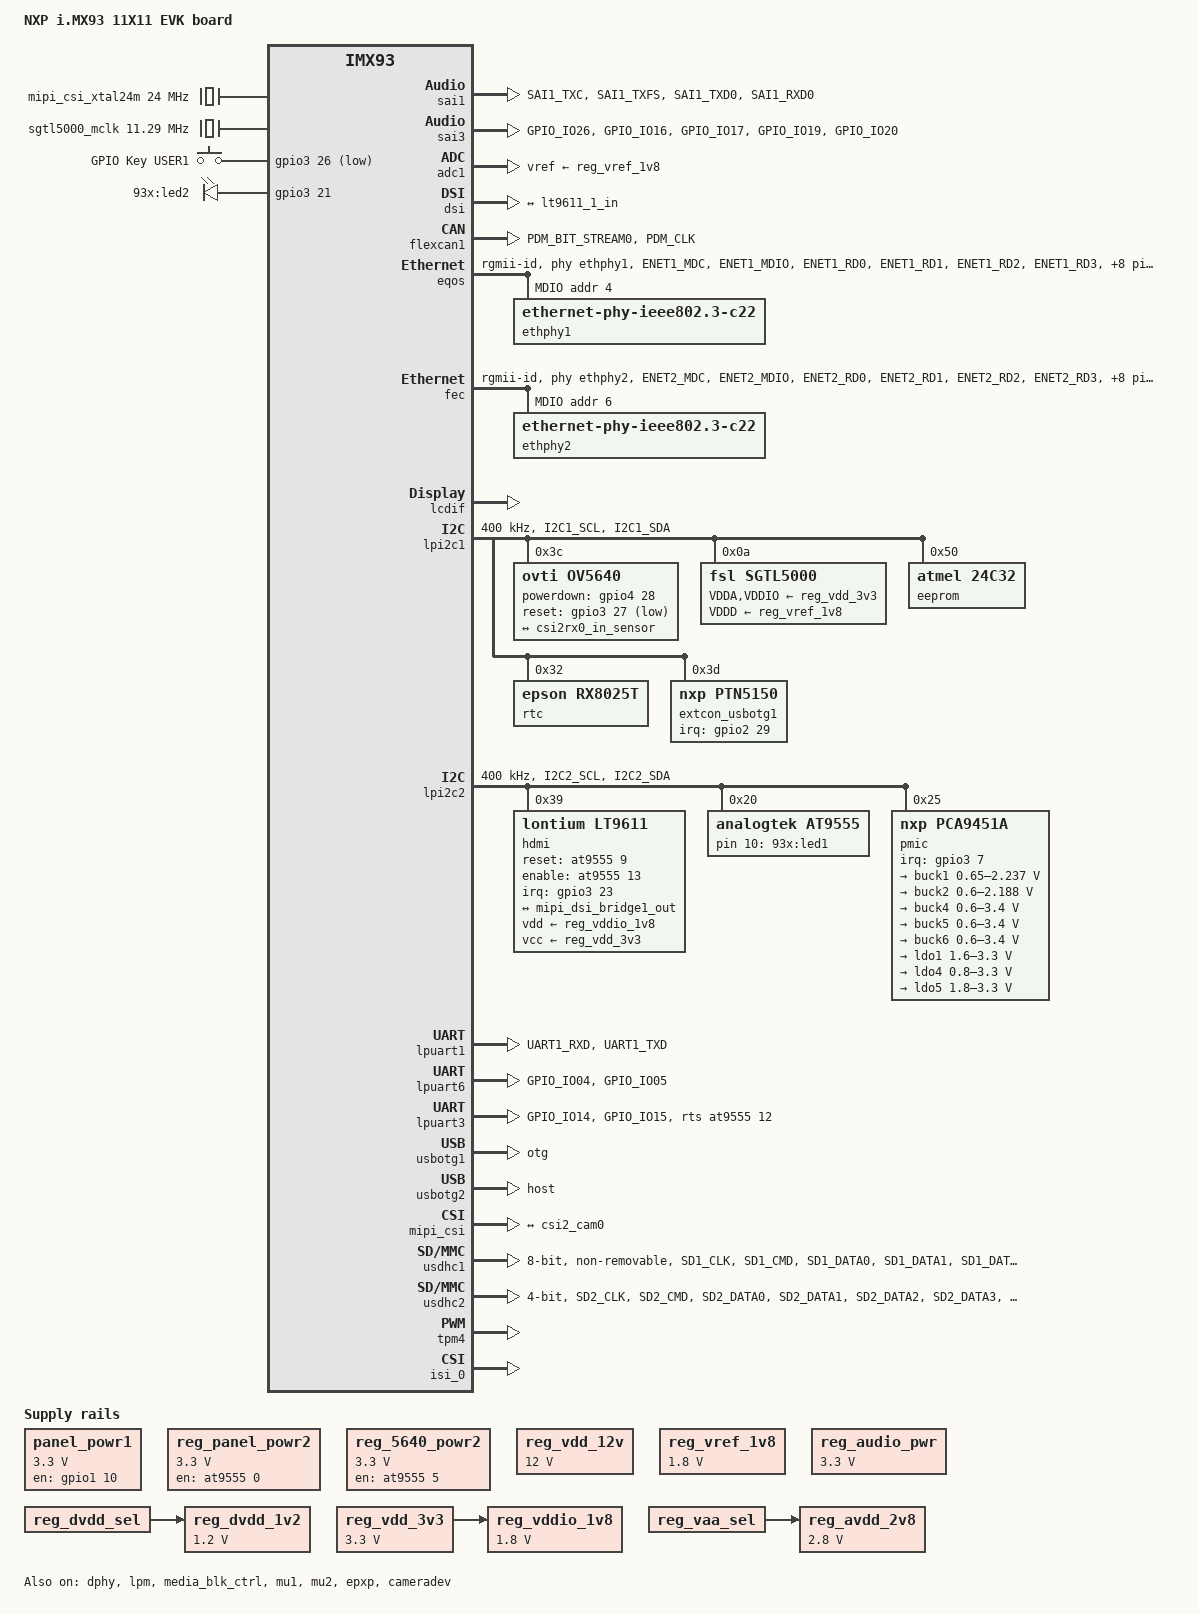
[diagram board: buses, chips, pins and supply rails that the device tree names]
// SPDX-License-Identifier: (GPL-2.0+ OR MIT)
/*
 * Copyright 2022 NXP
 */

/dts-v1/;

#include <dt-bindings/usb/pd.h>
#include "imx93.dtsi"

&ele_mu {
	memory-region = <&ele_reserved>;
};

/ {
	model = "NXP i.MX93 11X11 EVK board";
	compatible = "fsl,imx93-11x11-evk", "fsl,imx93";

	chosen {
		stdout-path = &lpuart1;
	};

	reserved-memory {
		#address-cells = <2>;
		#size-cells = <2>;
		ranges;

		linux,cma {
			compatible = "shared-dma-pool";
			reusable;
			alloc-ranges = <0 0x80000000 0 0x40000000>;
			size = <0 0x10000000>;
			linux,cma-default;
		};

		 ethosu_mem: ethosu_region@B0000000 {
		 	compatible = "shared-dma-pool";
		 	reusable;
		 	reg = <0x0 0xB0000000 0x0 0x8000000>;
		 };

		vdev0vring0: vdev0vring0@a4000000 {
			reg = <0 0xa4000000 0 0x8000>;
			no-map;
		};

		vdev0vring1: vdev0vring1@a4008000 {
			reg = <0 0xa4008000 0 0x8000>;
			no-map;
		};

		vdev1vring0: vdev1vring0@a4000000 {
			reg = <0 0xa4010000 0 0x8000>;
			no-map;
		};

		vdev1vring1: vdev1vring1@a4018000 {
			reg = <0 0xa4018000 0 0x8000>;
			no-map;
		};

		rsc_table: rsc-table@2021e000 {
			reg = <0 0x2021e000 0 0x1000>;
			no-map;
		};

		vdevbuffer: vdevbuffer@a4020000 {
			compatible = "shared-dma-pool";
			reg = <0 0xa4020000 0 0x100000>;
			no-map;
		};

		ele_reserved: ele-reserved@a4120000 {
			compatible = "shared-dma-pool";
			reg = <0 0xa4120000 0 0x100000>;
			no-map;
		};
	};

	cm33: imx93-cm33 {
		compatible = "fsl,imx93-cm33";
		mbox-names = "tx", "rx", "rxdb";
		mboxes = <&mu1 0 1
			  &mu1 1 1
			  &mu1 3 1>;
		memory-region = <&vdevbuffer>, <&vdev0vring0>, <&vdev0vring1>,
				<&vdev1vring0>, <&vdev1vring1>, <&rsc_table>;
		fsl,startup-delay-ms = <500>;
	};

	// ethosu {
	// 	compatible = "arm,ethosu";
	// 	fsl,cm33-proc = <&cm33>;
	// 	memory-region = <&ethosu_mem>;
	// 	power-domains = <&mlmix>;
	// };

	panel_powr1: regulator-panel_powr1 {
		compatible = "regulator-fixed";
		regulator-name = "panel-power1";
		regulator-min-microvolt = <3300000>;
		regulator-max-microvolt = <3300000>;
		gpios = <&gpio1 10 GPIO_ACTIVE_LOW>;
		enable-active-high;
		regulator-boot-on;
		regulator-always-on;
	};

	reg_panel_powr2: regulator-panel {
		compatible = "regulator-fixed";
		regulator-name = "panel-power1";
		regulator-min-microvolt = <3300000>;
		regulator-max-microvolt = <3300000>;
		gpios = <&at9555 0 GPIO_ACTIVE_LOW>;
		enable-active-high;
		regulator-boot-on;
		regulator-always-on;
	};


	reg_5640_powr2: regulator-5640 {
		compatible = "regulator-fixed";
		regulator-name = "5640-power1";
		regulator-min-microvolt = <3300000>;
		regulator-max-microvolt = <3300000>;
		gpios = <&at9555 5 GPIO_ACTIVE_HIGH>;
		enable-active-high;
		regulator-boot-on;
		regulator-always-on;
	};
	// reg_usdhc2_vmmc: regulator-usdhc2 {
	// 	compatible = "regulator-fixed";
	// 	pinctrl-names = "default";
	// 	pinctrl-0 = <&pinctrl_reg_usdhc2_vmmc>;
	// 	regulator-name = "VSD_3V3";
	// 	regulator-min-microvolt = <3300000>;
	// 	regulator-max-microvolt = <3300000>;
	// 	gpio = <&gpio3 7 GPIO_ACTIVE_HIGH>;
	// 	off-on-delay-us = <12000>;
	// 	enable-active-high;
	// };

	reg_vdd_12v: regulator-vdd-12v {
		compatible = "regulator-fixed";
		regulator-name = "reg_vdd_12v";
		regulator-min-microvolt = <12000000>;
		regulator-max-microvolt = <12000000>;
		enable-active-high;
	};

	reg_vref_1v8: regulator-adc-vref {
		compatible = "regulator-fixed";
		regulator-name = "vref_1v8";
		regulator-min-microvolt = <1800000>;
		regulator-max-microvolt = <1800000>;
	};

	usdhc3_pwrseq: usdhc3_pwrseq {
		compatible = "mmc-pwrseq-simple";
	};

	reg_audio_pwr: regulator-audio-pwr {
		compatible = "regulator-fixed";
		regulator-name = "audio-pwr";
		regulator-min-microvolt = <3300000>;
		regulator-max-microvolt = <3300000>;
		enable-active-high;
		regulator-always-on;
	};

	reg_dvdd_sel: regulator-dvdd_sel {
		compatible = "regulator-fixed";
		regulator-name = "DVDD_SEL";
		enable-active-high;
		startup-delay-us = <2000>;
	};

	reg_dvdd_1v2: regulator-dvdd {
		compatible = "regulator-fixed";
		regulator-name = "DVDD_1V2";
		regulator-min-microvolt = <1200000>;
		regulator-max-microvolt = <1200000>;
		enable-active-high;
		vin-supply = <&reg_dvdd_sel>;
	};

	reg_vdd_3v3: regulator-vdd {
		compatible = "regulator-fixed";
		regulator-name = "VDD_3V3";
		regulator-min-microvolt = <3300000>;
		regulator-max-microvolt = <3300000>;
		startup-delay-us = <4000>;
		enable-active-high;
	};

	reg_vddio_1v8: regulator-vddo {
		compatible = "regulator-fixed";
		regulator-name = "VDDIO_1V8";
		regulator-min-microvolt = <1800000>;
		regulator-max-microvolt = <1800000>;
		startup-delay-us = <4000>;
		enable-active-high;
		vin-supply = <&reg_vdd_3v3>;
	};

	reg_vaa_sel: regulator-vaa_sel {
		compatible = "regulator-fixed";
		regulator-name = "VAA_SEL";
		enable-active-high;
	};

	reg_avdd_2v8: regulator-avdd {
		compatible = "regulator-fixed";
		regulator-name = "AVDD_2V8";
		regulator-min-microvolt = <2800000>;
		regulator-max-microvolt = <2800000>;
		enable-active-high;
		vin-supply = <&reg_vaa_sel>;
	};

	mipi_csi_xtal24m: mipi_csi_xtal24m {
		compatible = "fixed-clock";
		#clock-cells = <0>;
		clock-frequency = <24000000>;
		clock-output-names = "xtal_24MHz";
	};

	sgtl5000_mclk: sgtl5000-mclk {
		compatible = "fixed-clock";
		#clock-cells = <0>;
		clock-frequency = <11289600>;
	};

	gpio-keys {
		compatible = "gpio-keys";
		autorepeat;
		pinctrl-names = "default";
		pinctrl-0 = <&pinctrl_key>;

		user: user {
			label = "GPIO Key USER1";
			linux,code = <BTN_0>;
			gpios = <&gpio3 26 GPIO_ACTIVE_LOW>;
		};

	};
	leds {
		compatible = "gpio-leds";

		led-user {
			label = "93x:led1";
			gpios = <&at9555 10 GPIO_ACTIVE_HIGH>;
			max-brightness = <255>;
			linux,default-trigger = "heartbeat";
		};

		led-sys {
			label = "93x:led2";
			pinctrl-names = "default";
			pinctrl-1 = <&pinctrl_sysled>;
			gpios = <&gpio3 21 GPIO_ACTIVE_HIGH>;
			linux,default-trigger = "heartbeat";
		};
	};

	sound {
		compatible = "simple-audio-card";
		simple-audio-card,name = "SGTL5000-Card";
		simple-audio-card,format = "i2s";
		simple-audio-card,bitclock-master = <&codec_dai>;
		simple-audio-card,frame-master = <&codec_dai>;
		simple-audio-card,widgets = "Headphone", "Headphone Jack";
		simple-audio-card,routing = "Headphone Jack", "HP_OUT";

		cpu_dai: simple-audio-card,cpu {
			sound-dai = <&sai1>;
		};

		codec_dai: simple-audio-card,codec {
			sound-dai = <&sgtl5000>;
			clocks = <&sgtl5000_mclk>;
		};
	};
};

&sai1 {
	#sound-dai-cells = <0>;
	pinctrl-names = "default";
	pinctrl-0 = <&pinctrl_sai1>;
	assigned-clocks = <&clk IMX93_CLK_SAI1>;
	assigned-clock-parents = <&clk IMX93_CLK_AUDIO_PLL>;
	assigned-clock-rates = <12288000>;
	status = "okay";
};

&sai3 {
	pinctrl-names = "default";
	pinctrl-0 = <&pinctrl_sai3>;
	assigned-clocks = <&clk IMX93_CLK_SAI3>;
	assigned-clock-parents = <&clk IMX93_CLK_AUDIO_PLL>;
	assigned-clock-rates = <12288000>;
	fsl,sai-mclk-direction-output;
	status = "okay";
};


// &xcvr {
// 	#sound-dai-cells = <0>;
// 	pinctrl-names = "default";
// 	pinctrl-0 = <&pinctrl_spdif>;
// 	clocks = <&clk IMX93_CLK_BUS_WAKEUP>,
// 		<&clk IMX93_CLK_SPDIF_GATE>,
// 		<&clk IMX93_CLK_DUMMY>,
// 		<&clk IMX93_CLK_AUD_XCVR_GATE>,
// 		<&clk IMX93_CLK_AUDIO_PLL>;
// 	clock-names = "ipg", "phy", "spba", "pll_ipg", "pll8k";
// 	assigned-clocks = <&clk IMX93_CLK_SPDIF>,
// 			 <&clk IMX93_CLK_AUDIO_XCVR>;
// 	assigned-clock-parents = <&clk IMX93_CLK_AUDIO_PLL>,
// 			 <&clk IMX93_CLK_SYS_PLL_PFD1_DIV2>;
// 	assigned-clock-rates = <12288000>, <200000000>;
// 	status = "okay";
// };
	
&adc1 {
	vref-supply = <&reg_vref_1v8>;
	status = "okay";
};

&dphy {
	status = "okay";
};

&dsi {
 	status = "okay";
 	ports{
 		#address-cells = <1>;
 		#size-cells = <0>;

 		hdmi:port@1 {
 			reg = <1>;
 			mipi_dsi_bridge1_out: endpoint {
 				remote-endpoint = <&lt9611_1_in>;
 				};
 			};
 		};
 		
};
&flexcan1 {
	pinctrl-names = "default";
	pinctrl-0 = <&pinctrl_flexcan1>;
	// xceiver-supply = <&reg_can2_stby>;
	status = "okay";
};

&eqos {
	pinctrl-names = "default";
	pinctrl-0 = <&pinctrl_eqos>;
	phy-mode = "rgmii-id";
	phy-handle = <&ethphy1>;
	status = "okay";

	mdio {
		compatible = "snps,dwmac-mdio";
		#address-cells = <1>;
		#size-cells = <0>;
		clock-frequency = <5000000>;

		ethphy1: ethernet-phy@1 {
			compatible = "ethernet-phy-ieee802.3-c22";
			reg = <4>;
			eee-broken-1000t;
		};
	};
};

&fec {
	pinctrl-names = "default";
	pinctrl-0 = <&pinctrl_fec>;
	phy-mode = "rgmii-id";
	phy-handle = <&ethphy2>;
	fsl,magic-packet;
	status = "okay";

	mdio {
		compatible = "snps,dwmac-mdio";
		#address-cells = <1>;
		#size-cells = <0>;
		clock-frequency = <5000000>;

		ethphy2: ethernet-phy@2 {
			compatible = "ethernet-phy-ieee802.3-c22";
			reg = <6>;
			eee-broken-1000t;
		};
	};
};

&lcdif {
	status = "okay";
	assigned-clock-rates = <445333333>, <148444444>, <400000000>, <133333333>;
};

&lpm {
	soc-supply = <&buck1>;
	status = "okay";
};

/*
 * When add, delete or change any target device setting in &lpi2c1,
 * please synchronize the changes to the &i3c1 bus in imx93-11x11-evk-i3c.dts.
 */
&lpi2c1 {
	#address-cells = <1>;
	#size-cells = <0>;
	clock-frequency = <400000>;
	pinctrl-names = "default", "sleep";
	pinctrl-0 = <&pinctrl_lpi2c1>;
	pinctrl-1 = <&pinctrl_lpi2c1>;
	status = "okay";

	ov5640: camera@3c {
		compatible = "ovti,ov5640";
		reg = <0x3c>;

		pinctrl-names ="default";
		pinctrl-0=<&pinctrl_ov5640_gpio>;

		clocks = <&mipi_csi_xtal24m>;
		// assigned-clocks = <&clk IMX93_CLK_CCM_CKO3>;
		// assigned-clock-rates = <24000000>;
		powerdown-gpios = <&gpio4 28 GPIO_ACTIVE_HIGH>;
		reset-gpios = <&gpio3 27 GPIO_ACTIVE_LOW>;
        clock-names = "xclk";

		csi_id = <0>;
		mclk = <24000000>;
		mclk_source = <0>;
		mipi_csi;
		status = "okay";

		port {
			csi2_cam0: endpoint {
				remote-endpoint = <&csi2rx0_in_sensor>;
				data-lanes = <1 2>;
				// cfg-clk-range = <28>;
				// hs-clk-range = <0x16>;
			};
		};
	};

	sgtl5000: audio-codec@a {
		compatible = "fsl,sgtl5000";
		reg = <0xa>;
		#sound-dai-cells = <0>;
		clocks = <&sgtl5000_mclk>;
		VDDA-supply = <&reg_vdd_3v3>;
		VDDIO-supply = <&reg_vdd_3v3>;
		VDDD-supply = <&reg_vref_1v8>;
	};
	
	eeprom: 24c32@50 {
		compatible = "atmel,24c32";
		reg = <0x50>;
		pagesize = <32>;
	};

	rtc: rtc@32 {
		compatible = "epson,rx8025t";
		reg = <0x32>;
		tatus = "okay";
    };
       extcon_usbotg1: typec@3d {
                compatible = "nxp,ptn5150";
                reg = <0x3d>;
                interrupt-parent = <&gpio2>;
                interrupts = <29 IRQ_TYPE_LEVEL_LOW>;
                pinctrl-names = "default";
                pinctrl-0 = <&pinctrl_tyint>;
                status = "okay";
        };

};
&lpi2c2 {
	#address-cells = <1>;
	#size-cells = <0>;
	clock-frequency = <400000>;
	pinctrl-names = "default", "sleep";
	pinctrl-0 = <&pinctrl_lpi2c2>;
	pinctrl-1 = <&pinctrl_lpi2c2>;
	status = "okay";
	 	hdmi@39 {
	 	compatible = "lontium,lt9611";
	 	pinctrl-0 = <&pinctrl_lt9611>;
	 	pinctrl-names = "default";
	 	vdd-supply = <&reg_vddio_1v8>;
	  	vcc-supply = <&reg_vdd_3v3>;
		
	 	// ddc-i2c-bus = <&lpi2c2>;
	 	// hpd-gpios = <&gpio1 8 GPIO_ACTIVE_HIGH>;
	 	// dsi-lanes = <4>;
	 	reg = <0x39>;
	 	reset-gpios = <&at9555 9 GPIO_ACTIVE_HIGH>;
	 	enable-gpios = <&at9555 13 GPIO_ACTIVE_HIGH>;
	 	interrupts-extended = <&gpio3 23 IRQ_TYPE_EDGE_FALLING>;
     	// lvds-enabled = <0>;
     	status = "okay";	    

		 ports {
		 	#address-cells = <1>;
		 	#size-cells = <0>;

		 	hdmi_disp: port@0 {
		 		reg = <0>;

		 		lt9611_1_in: endpoint {
		 			remote-endpoint = <&mipi_dsi_bridge1_out>;
		 		};
		 	};
/*
		 	port@2 {
		 		reg = <2>;
		 		lt9611_out: endpoint {
		 			remote-endpoint = <&hdmi_con>;
		 		};
		 	};
		 	*/
		 	
		 };
	};

	at9555: at9555@20 {
		compatible = "analogtek,at9555";
		reg = <0x20>;
		#gpio-cells = <2>;
		gpio_base = <130>;
		interrupt-controller;
		#interrupt-cells = <2>;
		status = "okay";
	};

	pmic@25 {
		compatible = "nxp,pca9451a";
		reg = <0x25>;
		pinctrl = <&pinctrl_reg_usdhc2_vmmc>;
		interrupt-parent = <&gpio3>;
		interrupts = <7 IRQ_TYPE_EDGE_FALLING>;

		regulators {
			buck1: BUCK1 {
				regulator-name = "BUCK1";
				regulator-min-microvolt = <650000>;
				regulator-max-microvolt = <2237500>;
				regulator-boot-on;
				regulator-always-on;
				regulator-ramp-delay = <3125>;
			};

			buck2: BUCK2 {
				regulator-name = "BUCK2";
				regulator-min-microvolt = <600000>;
				regulator-max-microvolt = <2187500>;
				regulator-boot-on;
				regulator-always-on;
				regulator-ramp-delay = <3125>;
			};

			buck4: BUCK4{
				regulator-name = "BUCK4";
				regulator-min-microvolt = <600000>;
				regulator-max-microvolt = <3400000>;
				regulator-boot-on;
				regulator-always-on;
			};

			buck5: BUCK5{
				regulator-name = "BUCK5";
				regulator-min-microvolt = <600000>;
				regulator-max-microvolt = <3400000>;
				regulator-boot-on;
				regulator-always-on;
			};

			buck6: BUCK6 {
				regulator-name = "BUCK6";
				regulator-min-microvolt = <600000>;
				regulator-max-microvolt = <3400000>;
				regulator-boot-on;
				regulator-always-on;
			};

			ldo1: LDO1 {
				regulator-name = "LDO1";
				regulator-min-microvolt = <1600000>;
				regulator-max-microvolt = <3300000>;
				regulator-boot-on;
				regulator-always-on;
			};

			ldo4: LDO4 {
				regulator-name = "LDO4";
				regulator-min-microvolt = <800000>;
				regulator-max-microvolt = <3300000>;
				regulator-boot-on;
				regulator-always-on;
			};

			ldo5: LDO5 {
				regulator-name = "LDO5";
				regulator-min-microvolt = <1800000>;
				regulator-max-microvolt = <3300000>;
				regulator-boot-on;
				regulator-always-on;
			};
		};
	};

};


&lpuart1 { /* console */
	pinctrl-names = "default";
	pinctrl-0 = <&pinctrl_uart1>;
	status = "okay";
};

&lpuart6 { /* console */
	pinctrl-names = "default";
	pinctrl-0 = <&pinctrl_uart6>;
	status = "okay";
};


&media_blk_ctrl {
	status = "okay";
};

&mu1 {
	status = "okay";
};

&mu2 {
	status = "okay";
};


&lpuart3 {
	pinctrl-names = "default";
	pinctrl-0 = <&pinctrl_uart3>;
    rts-gpios = <&at9555 12 GPIO_ACTIVE_HIGH>;
	rs485-rx-during-tx;
	linux,rs485-enabled-at-boot-time;
	status = "okay";

};

&usbotg1 {
	dr_mode = "otg";
	hnp-disable;
	srp-disable;
	adp-disable;
	usb-role-switch;
	disable-over-current;
	samsung,picophy-pre-emp-curr-control = <3>;
	samsung,picophy-dc-vol-level-adjust = <7>;
	status = "okay";

	extcon = <&extcon_usbotg1>, <&extcon_usbotg1>;

};

&usbotg2 {
	dr_mode = "host";
	disable-over-current; 
	status = "okay";
};


&mipi_csi {
	status = "okay";
	port@0 {
	csi2rx0_in_sensor: endpoint {
		remote-endpoint = <&csi2_cam0>;
		bus-type = <4>; /* CSI2 DPHY. */
				data-lanes = <2>;
				cfg-clk-range = <28>;
				hs-clk-range = <0x16>;
	};
	};
};

&usdhc1 {
	pinctrl-names = "default", "state_100mhz", "state_200mhz";
	pinctrl-0 = <&pinctrl_usdhc1>;
	pinctrl-1 = <&pinctrl_usdhc1_100mhz>;
	pinctrl-2 = <&pinctrl_usdhc1_200mhz>;
	bus-width = <8>;
	non-removable;
	status = "okay";
};

&usdhc2 {
	pinctrl-names = "default", "state_100mhz", "state_200mhz";
	pinctrl-0 = <&pinctrl_usdhc2>, <&pinctrl_usdhc2_gpio>;
	pinctrl-1 = <&pinctrl_usdhc2_100mhz>, <&pinctrl_usdhc2_gpio>;
	pinctrl-2 = <&pinctrl_usdhc2_200mhz>, <&pinctrl_usdhc2_gpio>;
	cd-gpios = <&gpio3 00 GPIO_ACTIVE_LOW>;
	// vmmc-supply = <&reg_usdhc2_vmmc>;
	bus-width = <4>;
	status = "okay";
	no-sdio;
	no-mmc;
};



&iomuxc {


	pinctrl_lcdif: lcdifgrp {
		fsl,pins = <
			MX93_PAD_GPIO_IO00__MEDIAMIX_DISP_CLK		0x31e
			MX93_PAD_GPIO_IO01__MEDIAMIX_DISP_DE		0x31e
			MX93_PAD_GPIO_IO02__MEDIAMIX_DISP_VSYNC		0x31e
			MX93_PAD_GPIO_IO03__MEDIAMIX_DISP_HSYNC		0x31e
			MX93_PAD_GPIO_IO04__MEDIAMIX_DISP_DATA00	0x31e
			MX93_PAD_GPIO_IO05__MEDIAMIX_DISP_DATA01	0x31e
			MX93_PAD_GPIO_IO06__MEDIAMIX_DISP_DATA02	0x31e
			MX93_PAD_GPIO_IO07__MEDIAMIX_DISP_DATA03	0x31e
			MX93_PAD_GPIO_IO08__MEDIAMIX_DISP_DATA04	0x31e
			MX93_PAD_GPIO_IO09__MEDIAMIX_DISP_DATA05	0x31e
			MX93_PAD_GPIO_IO10__MEDIAMIX_DISP_DATA06	0x31e
			MX93_PAD_GPIO_IO11__MEDIAMIX_DISP_DATA07	0x31e
			MX93_PAD_GPIO_IO12__MEDIAMIX_DISP_DATA08	0x31e
			MX93_PAD_GPIO_IO13__MEDIAMIX_DISP_DATA09	0x31e
			MX93_PAD_GPIO_IO14__MEDIAMIX_DISP_DATA10	0x31e
			MX93_PAD_GPIO_IO15__MEDIAMIX_DISP_DATA11	0x31e
			MX93_PAD_GPIO_IO16__MEDIAMIX_DISP_DATA12	0x31e
			MX93_PAD_GPIO_IO17__MEDIAMIX_DISP_DATA13	0x31e
			MX93_PAD_GPIO_IO18__MEDIAMIX_DISP_DATA14	0x31e
			MX93_PAD_GPIO_IO19__MEDIAMIX_DISP_DATA15	0x31e
			MX93_PAD_GPIO_IO20__MEDIAMIX_DISP_DATA16	0x31e
			MX93_PAD_GPIO_IO21__MEDIAMIX_DISP_DATA17	0x31e
			MX93_PAD_GPIO_IO22__MEDIAMIX_DISP_DATA18   0x0000051E
            MX93_PAD_GPIO_IO23__MEDIAMIX_DISP_DATA19   0x0000051E
            MX93_PAD_GPIO_IO24__MEDIAMIX_DISP_DATA20   0x0000051E
            MX93_PAD_GPIO_IO25__MEDIAMIX_DISP_DATA21   0x0000051E
            MX93_PAD_GPIO_IO26__MEDIAMIX_DISP_DATA22   0x0000051E
            MX93_PAD_GPIO_IO27__MEDIAMIX_DISP_DATA23   0x0000051E
		>;
	};

	pinctrl_lt9611: pinctrl9611 {
		fsl,pins = <
            MX93_PAD_SD3_DATA1__GPIO3_IO23             0x0000057E
			>;
        };

	pinctrl_sysled: pinctrlsysled {
		fsl,pins = <
                MX93_PAD_SD3_CMD__GPIO3_IO21               0x0000051E
			>;
    };

	pinctrl_key: pinctrlkey {
		fsl,pins = <
                MX93_PAD_CCM_CLKO1__GPIO3_IO26             0x0000051E
			>;
    };

	pinctrl_rgb: pinctrlrgb {
		fsl,pins = <
                MX93_PAD_PDM_BIT_STREAM1__GPIO1_IO10       0x0000051E
			>;
    };

	pinctrl_lcdif: lcdifgrp {
		fsl,pins = <
			MX93_PAD_GPIO_IO00__MEDIAMIX_DISP_CLK		0x31e
			MX93_PAD_GPIO_IO01__MEDIAMIX_DISP_DE		0x31e
			MX93_PAD_GPIO_IO02__MEDIAMIX_DISP_VSYNC		0x31e
			MX93_PAD_GPIO_IO03__MEDIAMIX_DISP_HSYNC		0x31e
			MX93_PAD_GPIO_IO04__MEDIAMIX_DISP_DATA00	0x31e
			MX93_PAD_GPIO_IO05__MEDIAMIX_DISP_DATA01	0x31e
			MX93_PAD_GPIO_IO06__MEDIAMIX_DISP_DATA02	0x31e
			MX93_PAD_GPIO_IO07__MEDIAMIX_DISP_DATA03	0x31e
			MX93_PAD_GPIO_IO08__MEDIAMIX_DISP_DATA04	0x31e
			MX93_PAD_GPIO_IO09__MEDIAMIX_DISP_DATA05	0x31e
			MX93_PAD_GPIO_IO10__MEDIAMIX_DISP_DATA06	0x31e
			MX93_PAD_GPIO_IO11__MEDIAMIX_DISP_DATA07	0x31e
			MX93_PAD_GPIO_IO12__MEDIAMIX_DISP_DATA08	0x31e
			MX93_PAD_GPIO_IO13__MEDIAMIX_DISP_DATA09	0x31e
			MX93_PAD_GPIO_IO14__MEDIAMIX_DISP_DATA10	0x31e
			MX93_PAD_GPIO_IO15__MEDIAMIX_DISP_DATA11	0x31e
			MX93_PAD_GPIO_IO16__MEDIAMIX_DISP_DATA12	0x31e
			MX93_PAD_GPIO_IO17__MEDIAMIX_DISP_DATA13	0x31e
			MX93_PAD_GPIO_IO18__MEDIAMIX_DISP_DATA14	0x31e
			MX93_PAD_GPIO_IO19__MEDIAMIX_DISP_DATA15	0x31e
			MX93_PAD_GPIO_IO20__MEDIAMIX_DISP_DATA16	0x31e
			MX93_PAD_GPIO_IO21__MEDIAMIX_DISP_DATA17	0x31e
			MX93_PAD_GPIO_IO22__MEDIAMIX_DISP_DATA18   0x0000051E
            MX93_PAD_GPIO_IO23__MEDIAMIX_DISP_DATA19   0x0000051E
            MX93_PAD_GPIO_IO24__MEDIAMIX_DISP_DATA20   0x0000051E
            MX93_PAD_GPIO_IO25__MEDIAMIX_DISP_DATA21   0x0000051E
            MX93_PAD_GPIO_IO26__MEDIAMIX_DISP_DATA22   0x0000051E
            MX93_PAD_GPIO_IO27__MEDIAMIX_DISP_DATA23   0x0000051E
		>;
	};
	
	pinctrl_sysled: pinctrlsysled {
		fsl,pins = <
                MX93_PAD_SD3_CMD__GPIO3_IO21               0x0000051E
			>;
    };
	
	pinctrl_uart3: pinctrluart3 {
		fsl,pins = <
			MX93_PAD_GPIO_IO14__LPUART3_TX             0x0000057E	
            MX93_PAD_GPIO_IO15__LPUART3_RX             0x0000057E
		>;
	};

	pinctrl_key: pinctrlkey {
		fsl,pins = <
                MX93_PAD_CCM_CLKO1__GPIO3_IO26             0x0000051E
			>;
    };

	pinctrl_flexcan1: flexcan1grp {
		fsl,pins = <
		MX93_PAD_PDM_BIT_STREAM0__CAN1_RX          0x0000057E
            	MX93_PAD_PDM_CLK__CAN1_TX  				   0x0000057E
		>;
	};

	pinctrl_lpi2c1: lpi2c1grp {
		fsl,pins = <
			MX93_PAD_I2C1_SCL__LPI2C1_SCL              0x0000057E
            MX93_PAD_I2C1_SDA__LPI2C1_SDA              0x0000057E
		>;
	};

	pinctrl_lpi2c2: lpi2c2grp {
		fsl,pins = <
			MX93_PAD_I2C2_SCL__LPI2C2_SCL			0x40000b9e
			MX93_PAD_I2C2_SDA__LPI2C2_SDA			0x40000b9e
		>;
	};

	pinctrl_lpi2c3: lpi2c3grp {
		fsl,pins = <
			MX93_PAD_GPIO_IO28__LPI2C3_SDA			0x40000b9e
			MX93_PAD_GPIO_IO29__LPI2C3_SCL			0x40000b9e
		>;
	};

	pinctrl_eqos: eqosgrp {
		fsl,pins = <
			MX93_PAD_ENET1_MDC__ENET_QOS_MDC			0x57e
			MX93_PAD_ENET1_MDIO__ENET_QOS_MDIO			0x57e
			MX93_PAD_ENET1_RD0__ENET_QOS_RGMII_RD0			0x57e
			MX93_PAD_ENET1_RD1__ENET_QOS_RGMII_RD1			0x57e
			MX93_PAD_ENET1_RD2__ENET_QOS_RGMII_RD2			0x57e
			MX93_PAD_ENET1_RD3__ENET_QOS_RGMII_RD3			0x57e
			MX93_PAD_ENET1_RXC__CCM_ENET_QOS_CLOCK_GENERATE_RX_CLK	0x5fe
			MX93_PAD_ENET1_RX_CTL__ENET_QOS_RGMII_RX_CTL		0x57e
			MX93_PAD_ENET1_TD0__ENET_QOS_RGMII_TD0			0x57e
			MX93_PAD_ENET1_TD1__ENET_QOS_RGMII_TD1			0x57e
			MX93_PAD_ENET1_TD2__ENET_QOS_RGMII_TD2			0x57e
			MX93_PAD_ENET1_TD3__ENET_QOS_RGMII_TD3			0x57e
			MX93_PAD_ENET1_TXC__CCM_ENET_QOS_CLOCK_GENERATE_TX_CLK	0x5fe
			MX93_PAD_ENET1_TX_CTL__ENET_QOS_RGMII_TX_CTL		0x57e
		>;
	};

	pinctrl_fec: fecgrp {
		fsl,pins = <
			MX93_PAD_ENET2_MDC__ENET1_MDC			0x57e
			MX93_PAD_ENET2_MDIO__ENET1_MDIO			0x57e
			MX93_PAD_ENET2_RD0__ENET1_RGMII_RD0		0x57e
			MX93_PAD_ENET2_RD1__ENET1_RGMII_RD1		0x57e
			MX93_PAD_ENET2_RD2__ENET1_RGMII_RD2		0x57e
			MX93_PAD_ENET2_RD3__ENET1_RGMII_RD3		0x57e
			MX93_PAD_ENET2_RXC__ENET1_RGMII_RXC		0x5fe
			MX93_PAD_ENET2_RX_CTL__ENET1_RGMII_RX_CTL	0x57e
			MX93_PAD_ENET2_TD0__ENET1_RGMII_TD0		0x57e
			MX93_PAD_ENET2_TD1__ENET1_RGMII_TD1		0x57e
			MX93_PAD_ENET2_TD2__ENET1_RGMII_TD2		0x57e
			MX93_PAD_ENET2_TD3__ENET1_RGMII_TD3		0x57e
			MX93_PAD_ENET2_TXC__ENET1_RGMII_TXC		0x5fe
			MX93_PAD_ENET2_TX_CTL__ENET1_RGMII_TX_CTL	0x57e
		>;
	};

	pinctrl_uart1: uart1grp {
		fsl,pins = <
			MX93_PAD_UART1_RXD__LPUART1_RX			0x31e
			MX93_PAD_UART1_TXD__LPUART1_TX			0x31e
		>;
	};

	pinctrl_uart6: uart6grp {
		fsl,pins = <
                MX93_PAD_GPIO_IO04__LPUART6_TX             0x0000057E
                MX93_PAD_GPIO_IO05__LPUART6_RX             0x0000057E
		>;
	};

	pinctrl_uart5: uart5grp {
		fsl,pins = <
			MX93_PAD_DAP_TDO_TRACESWO__LPUART5_TX	0x31e
			MX93_PAD_DAP_TDI__LPUART5_RX		0x31e
			MX93_PAD_DAP_TMS_SWDIO__LPUART5_RTS_B	0x31e
			MX93_PAD_DAP_TCLK_SWCLK__LPUART5_CTS_B	0x31e
		>;
	};

	pinctrl_ov5640_gpio: pinctrl-ov5640-gpio {
		fsl,pins = <
                MX93_PAD_CCM_CLKO2__GPIO3_IO27             0x0000057E
                MX93_PAD_CCM_CLKO3__GPIO4_IO28             0x0000057E
		>;
	};
		/* need to config the SION for data and cmd pad, refer to ERR052021 */
	pinctrl_usdhc1: usdhc1grp {
		fsl,pins = <
			MX93_PAD_SD1_CLK__USDHC1_CLK		0x1582
			MX93_PAD_SD1_CMD__USDHC1_CMD		0x40001382
			MX93_PAD_SD1_DATA0__USDHC1_DATA0	0x40001382
			MX93_PAD_SD1_DATA1__USDHC1_DATA1	0x40001382
			MX93_PAD_SD1_DATA2__USDHC1_DATA2	0x40001382
			MX93_PAD_SD1_DATA3__USDHC1_DATA3	0x40001382
			MX93_PAD_SD1_DATA4__USDHC1_DATA4	0x40001382
			MX93_PAD_SD1_DATA5__USDHC1_DATA5	0x40001382
			MX93_PAD_SD1_DATA6__USDHC1_DATA6	0x40001382
			MX93_PAD_SD1_DATA7__USDHC1_DATA7	0x40001382
			MX93_PAD_SD1_STROBE__USDHC1_STROBE	0x1582
		>;
	};

	/* need to config the SION for data and cmd pad, refer to ERR052021 */
	pinctrl_usdhc1_100mhz: usdhc1-100mhzgrp {
		fsl,pins = <
			MX93_PAD_SD1_CLK__USDHC1_CLK		0x158e
			MX93_PAD_SD1_CMD__USDHC1_CMD		0x4000138e
			MX93_PAD_SD1_DATA0__USDHC1_DATA0	0x4000138e
			MX93_PAD_SD1_DATA1__USDHC1_DATA1	0x4000138e
			MX93_PAD_SD1_DATA2__USDHC1_DATA2	0x4000138e
			MX93_PAD_SD1_DATA3__USDHC1_DATA3	0x4000138e
			MX93_PAD_SD1_DATA4__USDHC1_DATA4	0x4000138e
			MX93_PAD_SD1_DATA5__USDHC1_DATA5	0x4000138e
			MX93_PAD_SD1_DATA6__USDHC1_DATA6	0x4000138e
			MX93_PAD_SD1_DATA7__USDHC1_DATA7	0x4000138e
			MX93_PAD_SD1_STROBE__USDHC1_STROBE	0x158e
		>;
	};

	/* need to config the SION for data and cmd pad, refer to ERR052021 */
	pinctrl_usdhc1_200mhz: usdhc1-200mhzgrp {
		fsl,pins = <
			MX93_PAD_SD1_CLK__USDHC1_CLK		0x15fe
			MX93_PAD_SD1_CMD__USDHC1_CMD		0x400013fe
			MX93_PAD_SD1_DATA0__USDHC1_DATA0	0x400013fe
			MX93_PAD_SD1_DATA1__USDHC1_DATA1	0x400013fe
			MX93_PAD_SD1_DATA2__USDHC1_DATA2	0x400013fe
			MX93_PAD_SD1_DATA3__USDHC1_DATA3	0x400013fe
			MX93_PAD_SD1_DATA4__USDHC1_DATA4	0x400013fe
			MX93_PAD_SD1_DATA5__USDHC1_DATA5	0x400013fe
			MX93_PAD_SD1_DATA6__USDHC1_DATA6	0x400013fe
			MX93_PAD_SD1_DATA7__USDHC1_DATA7	0x400013fe
			MX93_PAD_SD1_STROBE__USDHC1_STROBE	0x15fe
		>;
	};

	pinctrl_reg_usdhc2_vmmc: regusdhc2vmmcgrp {
		fsl,pins = <
			MX93_PAD_SD2_RESET_B__GPIO3_IO07	0x31e
		>;
	};

	pinctrl_usdhc2_gpio: usdhc2gpiogrp {
		fsl,pins = <
			MX93_PAD_SD2_CD_B__GPIO3_IO00		0x31e
		>;
	};

	/* need to config the SION for data and cmd pad, refer to ERR052021 */
	pinctrl_usdhc2: usdhc2grp {
		fsl,pins = <
			MX93_PAD_SD2_CLK__USDHC2_CLK		0x1582
			MX93_PAD_SD2_CMD__USDHC2_CMD		0x40001382
			MX93_PAD_SD2_DATA0__USDHC2_DATA0	0x40001382
			MX93_PAD_SD2_DATA1__USDHC2_DATA1	0x40001382
			MX93_PAD_SD2_DATA2__USDHC2_DATA2	0x40001382
			MX93_PAD_SD2_DATA3__USDHC2_DATA3	0x40001382
			MX93_PAD_SD2_VSELECT__USDHC2_VSELECT	0x51e
		>;
	};

	/* need to config the SION for data and cmd pad, refer to ERR052021 */
	pinctrl_usdhc2_100mhz: usdhc2-100mhzgrp {
		fsl,pins = <
			MX93_PAD_SD2_CLK__USDHC2_CLK		0x158e
			MX93_PAD_SD2_CMD__USDHC2_CMD		0x4000138e
			MX93_PAD_SD2_DATA0__USDHC2_DATA0	0x4000138e
			MX93_PAD_SD2_DATA1__USDHC2_DATA1	0x4000138e
			MX93_PAD_SD2_DATA2__USDHC2_DATA2	0x4000138e
			MX93_PAD_SD2_DATA3__USDHC2_DATA3	0x4000138e
			MX93_PAD_SD2_VSELECT__USDHC2_VSELECT	0x51e
		>;
	};

	/* need to config the SION for data and cmd pad, refer to ERR052021 */
	pinctrl_usdhc2_200mhz: usdhc2-200mhzgrp {
		fsl,pins = <
			MX93_PAD_SD2_CLK__USDHC2_CLK		0x15fe
			MX93_PAD_SD2_CMD__USDHC2_CMD		0x400013fe
			MX93_PAD_SD2_DATA0__USDHC2_DATA0	0x400013fe
			MX93_PAD_SD2_DATA1__USDHC2_DATA1	0x400013fe
			MX93_PAD_SD2_DATA2__USDHC2_DATA2	0x400013fe
			MX93_PAD_SD2_DATA3__USDHC2_DATA3	0x400013fe
			MX93_PAD_SD2_VSELECT__USDHC2_VSELECT	0x51e
		>;
	};
	/* need to config the SION for data and cmd pad, refer to ERR052021 */
	pinctrl_usdhc3: usdhc3grp {
		fsl,pins = <
			MX93_PAD_SD3_CLK__USDHC3_CLK		0x1582
			MX93_PAD_SD3_CMD__USDHC3_CMD		0x40001382
			MX93_PAD_SD3_DATA0__USDHC3_DATA0	0x40001382
			MX93_PAD_SD3_DATA1__USDHC3_DATA1	0x40001382
			MX93_PAD_SD3_DATA2__USDHC3_DATA2	0x40001382
			MX93_PAD_SD3_DATA3__USDHC3_DATA3	0x40001382
		>;
	};
	/* need to config the SION for data and cmd pad, refer to ERR052021 */
	pinctrl_usdhc3_100mhz: usdhc3-100mhzgrp {
		fsl,pins = <
			MX93_PAD_SD3_CLK__USDHC3_CLK		0x158e
			MX93_PAD_SD3_CMD__USDHC3_CMD		0x4000138e
			MX93_PAD_SD3_DATA0__USDHC3_DATA0	0x4000138e
			MX93_PAD_SD3_DATA1__USDHC3_DATA1	0x4000138e
			MX93_PAD_SD3_DATA2__USDHC3_DATA2	0x4000138e
			MX93_PAD_SD3_DATA3__USDHC3_DATA3	0x4000138e
		>;
	};
	/* need to config the SION for data and cmd pad, refer to ERR052021 */
	pinctrl_usdhc3_200mhz: usdhc3-200mhzgrp {
		fsl,pins = <
			MX93_PAD_SD3_CLK__USDHC3_CLK		0x15fe
			MX93_PAD_SD3_CMD__USDHC3_CMD		0x400013fe
			MX93_PAD_SD3_DATA0__USDHC3_DATA0	0x400013fe
			MX93_PAD_SD3_DATA1__USDHC3_DATA1	0x400013fe
			MX93_PAD_SD3_DATA2__USDHC3_DATA2	0x400013fe
			MX93_PAD_SD3_DATA3__USDHC3_DATA3	0x400013fe
		>;
	};


	pinctrl_sai1: sai1grp {
		fsl,pins = <
			MX93_PAD_SAI1_TXC__SAI1_TX_BCLK			0x31e
			MX93_PAD_SAI1_TXFS__SAI1_TX_SYNC		0x31e
			MX93_PAD_SAI1_TXD0__SAI1_TX_DATA00		0x31e
			MX93_PAD_SAI1_RXD0__SAI1_RX_DATA00		0x31e
		>;
	};

	pinctrl_sai3: sai3grp {
		fsl,pins = <
			MX93_PAD_GPIO_IO26__SAI3_TX_SYNC		0x31e
			MX93_PAD_GPIO_IO16__SAI3_TX_BCLK		0x31e
			MX93_PAD_GPIO_IO17__SAI3_MCLK		0x31e
			MX93_PAD_GPIO_IO19__SAI3_TX_DATA00		0x31e
			MX93_PAD_GPIO_IO20__SAI3_RX_DATA00		0x31e
		>;
	};

	pinctrl_tyint: typecint {
		fsl,pins = <
                MX93_PAD_GPIO_IO29__GPIO2_IO29             0x0000051E
		>;
	};
};

&tpm4 {
		status = "okay";
	};

&epxp {
	status = "okay";
};

&cameradev {
	status = "okay";
};

&isi_0 {
	status = "okay";

	cap_device {
		status = "okay";
	};
};


